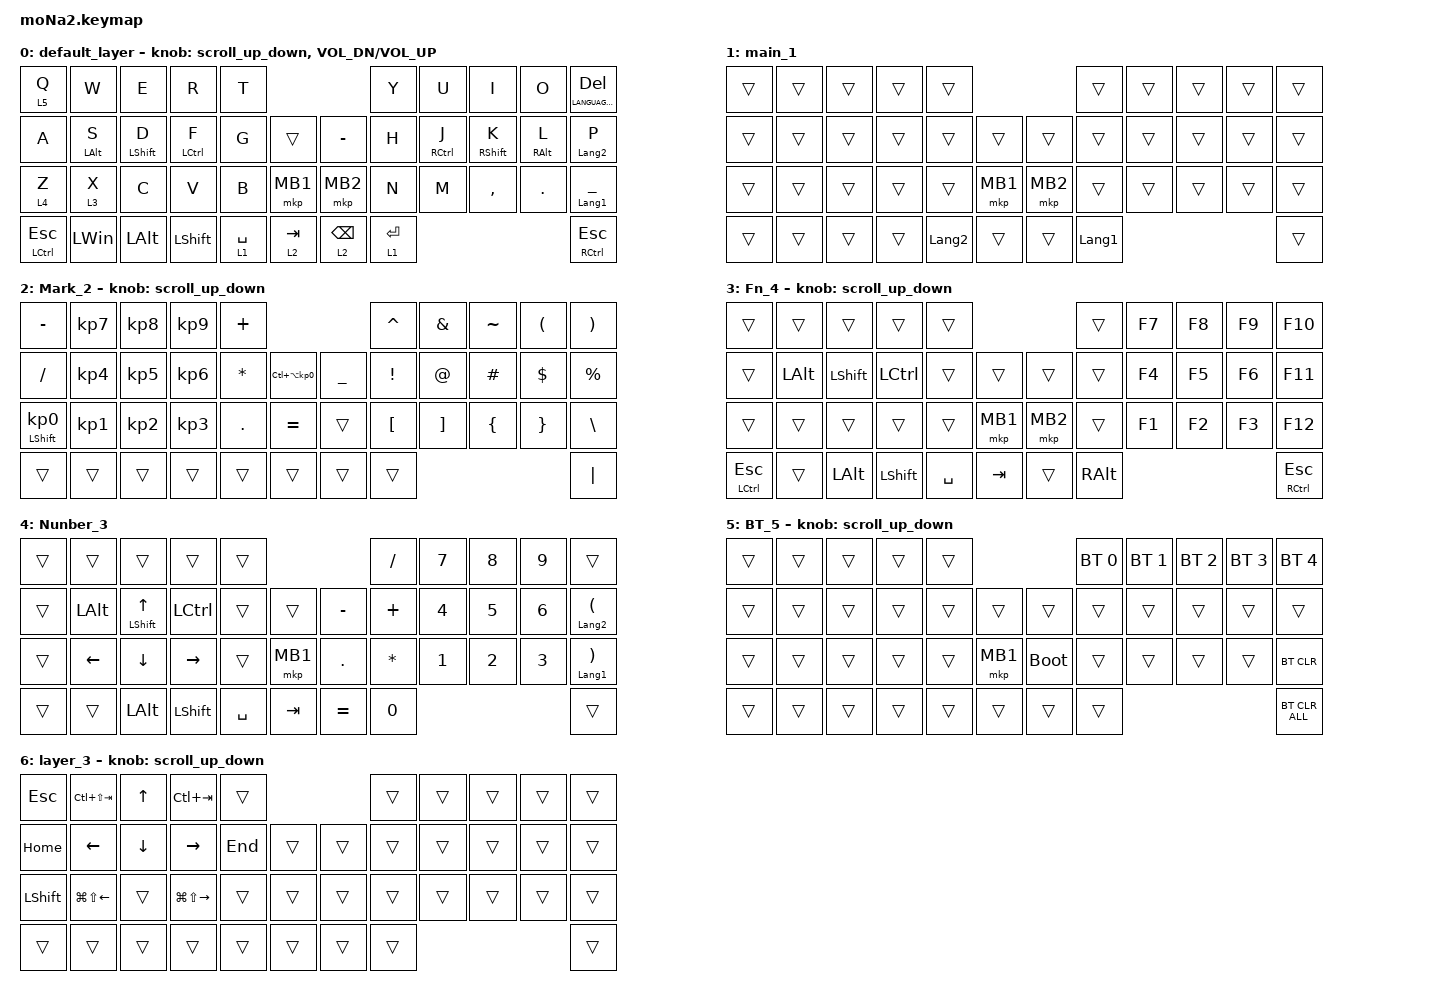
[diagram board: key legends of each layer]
#include <behaviors.dtsi>
#include <dt-bindings/zmk/bt.h>
#include <dt-bindings/zmk/keys.h>
#include <dt-bindings/zmk/pointing.h>

#define ZMK_POINTING_DEFAULT_SCRL_VAL 100
#define MOUSE 6

&mt {
    flavor = "balanced";
    quick-tap-ms = <0>;
};

/ {
    combos { compatible = "zmk,combos"; };

    macros {
        to_layer_0: to_layer_0 {
            compatible = "zmk,behavior-macro-one-param";
            #binding-cells = <1>;
            bindings = <&to 0 &macro_param_1to1 &kp MACRO_PLACEHOLDER>;
            label = "TO_LAYER_0";
        };
    };

    behaviors {
        lt_to_layer_0: lt_to_layer_0 {
            compatible = "zmk,behavior-hold-tap";
            label = "LAYER_TAP_TO_0";
            bindings = <&mo>, <&to_layer_0>;

            #binding-cells = <2>;
            tapping-term-ms = <200>;
        };

        scroll_up_down: behavior_sensor_rotate_mouse_wheel_up_down {
            compatible = "zmk,behavior-sensor-rotate";
            #sensor-binding-cells = <0>;
            bindings = <&msc SCRL_UP>, <&msc SCRL_DOWN>;

            tap-ms = <20>;
        };
    };

    keymap {
        compatible = "zmk,keymap";

        default_layer {
            bindings = <
&lt 5 Q        &kp W           &kp E             &kp R               &kp T                                      &kp Y        &kp U                &kp I         &kp O            &mt LANGUAGE_5 DELETE
&kp A          &mt LEFT_ALT S  &mt LEFT_SHIFT D  &mt LEFT_CONTROL F  &kp G        &trans       &kp MINUS        &kp H        &mt RIGHT_CONTROL J  &mt RSHIFT K  &mt RIGHT_ALT L  &mt LANGUAGE_2 P
&lt 4 Z        &lt 3 X         &kp C             &kp V               &kp B        &mkp MB1     &mkp MB2         &kp N        &kp M                &kp COMMA     &kp DOT          &mt LANGUAGE_1 UNDER
&mt LCTRL ESC  &kp LEFT_WIN    &kp LEFT_ALT      &kp LEFT_SHIFT      &lt 1 SPACE  &lt 2 TAB    &lt 2 BACKSPACE  &lt 1 ENTER                                                      &mt RIGHT_CONTROL ESCAPE
            >;

            sensor-bindings =
                <&scroll_up_down>,
                <&inc_dec_kp C_VOL_DN C_VOL_UP>;
        };

        main_1 {
            bindings = <
&trans  &trans  &trans  &trans  &trans                                &trans          &trans  &trans  &trans  &trans
&trans  &trans  &trans  &trans  &trans          &trans      &trans    &trans          &trans  &trans  &trans  &trans
&trans  &trans  &trans  &trans  &trans          &mkp MB1    &mkp MB2  &trans          &trans  &trans  &trans  &trans
&trans  &trans  &trans  &trans  &kp LANGUAGE_2  &trans      &trans    &kp LANGUAGE_1                          &trans
            >;
        };

        Mark_2 {
            bindings = <
&kp MINUS                   &kp KP_NUMBER_7  &kp KP_NUMBER_8  &kp KP_NUMBER_9  &kp PLUS                                                 &kp CARET         &kp AMPERSAND      &kp TILDE       &kp LEFT_PARENTHESIS  &kp RIGHT_PARENTHESIS
&kp SLASH                   &kp KP_NUMBER_4  &kp KP_NUMBER_5  &kp KP_NUMBER_6  &kp ASTERISK  &kp LC(LA(KP_NUMBER_0))    &kp UNDERSCORE  &kp EXCLAMATION   &kp AT_SIGN        &kp HASH        &kp DOLLAR            &kp PERCENT
&mt LEFT_SHIFT KP_NUMBER_0  &kp KP_NUMBER_1  &kp KP_NUMBER_2  &kp KP_NUMBER_3  &kp PERIOD    &kp EQUAL                  &trans          &kp LEFT_BRACKET  &kp RIGHT_BRACKET  &kp LEFT_BRACE  &kp RIGHT_BRACE       &kp BACKSLASH
&trans                      &trans           &trans           &trans           &trans        &trans                     &trans          &trans                                                                     &kp PIPE
            >;

            sensor-bindings = <&scroll_up_down>;
        };

        Fn_4 {
            bindings = <
&trans                   &trans        &trans          &trans            &trans                           &trans         &kp F7  &kp F8  &kp F9  &kp F10
&trans                   &kp LEFT_ALT  &kp LEFT_SHIFT  &kp LEFT_CONTROL  &trans     &trans      &trans    &trans         &kp F4  &kp F5  &kp F6  &kp F11
&trans                   &trans        &trans          &trans            &trans     &mkp MB1    &mkp MB2  &trans         &kp F1  &kp F2  &kp F3  &kp F12
&mt LEFT_CONTROL ESCAPE  &trans        &kp LEFT_ALT    &kp LEFT_SHIFT    &kp SPACE  &kp TAB     &trans    &kp RIGHT_ALT                          &mt RIGHT_CONTROL ESCAPE
            >;

            sensor-bindings = <&scroll_up_down>;
        };

        Nunber_3 {
            bindings = <
&trans  &trans    &trans              &trans          &trans                            &kp SLASH     &kp NUMBER_7  &kp NUMBER_8  &kp NUMBER_9  &trans
&trans  &kp LALT  &mt LSHFT UP_ARROW  &kp LCTRL       &trans     &trans      &kp MINUS  &kp PLUS      &kp NUMBER_4  &kp NUMBER_5  &kp NUMBER_6  &mt LANGUAGE_2 LEFT_PARENTHESIS
&trans  &kp LEFT  &kp DOWN            &kp RIGHT       &trans     &mkp MB1    &kp DOT    &kp ASTERISK  &kp NUMBER_1  &kp NUMBER_2  &kp NUMBER_3  &mt LANGUAGE_1 RIGHT_PARENTHESIS
&trans  &trans    &kp LEFT_ALT        &kp LEFT_SHIFT  &kp SPACE  &kp TAB     &kp EQUAL  &kp N0                                                  &trans
            >;
        };

        BT_5 {
            bindings = <
&trans  &trans  &trans  &trans  &trans                           &bt BT_SEL 0  &bt BT_SEL 1  &bt BT_SEL 2  &bt BT_SEL 3  &bt BT_SEL 4
&trans  &trans  &trans  &trans  &trans  &trans      &trans       &trans        &trans        &trans        &trans        &trans
&trans  &trans  &trans  &trans  &trans  &mkp MB1    &bootloader  &trans        &trans        &trans        &trans        &bt BT_CLR
&trans  &trans  &trans  &trans  &trans  &trans      &trans       &trans                                                  &bt BT_CLR_ALL
            >;

            sensor-bindings = <&scroll_up_down>;
        };

        layer_3 {
            bindings = <
&kp ESCAPE      &kp LC(LS(TAB))         &kp UP_ARROW    &kp LC(TAB)              &trans                     &trans  &trans  &trans  &trans  &trans
&kp HOME        &kp LEFT_ARROW          &kp DOWN_ARROW  &kp RIGHT_ARROW          &kp END  &trans    &trans  &trans  &trans  &trans  &trans  &trans
&kp LEFT_SHIFT  &kp LG(LS(LEFT_ARROW))  &trans          &kp LG(LS(RIGHT_ARROW))  &trans   &trans    &trans  &trans  &trans  &trans  &trans  &trans
&trans          &trans                  &trans          &trans                   &trans   &trans    &trans  &trans                          &trans
            >;

            sensor-bindings = <&scroll_up_down>;
        };
    };
};
